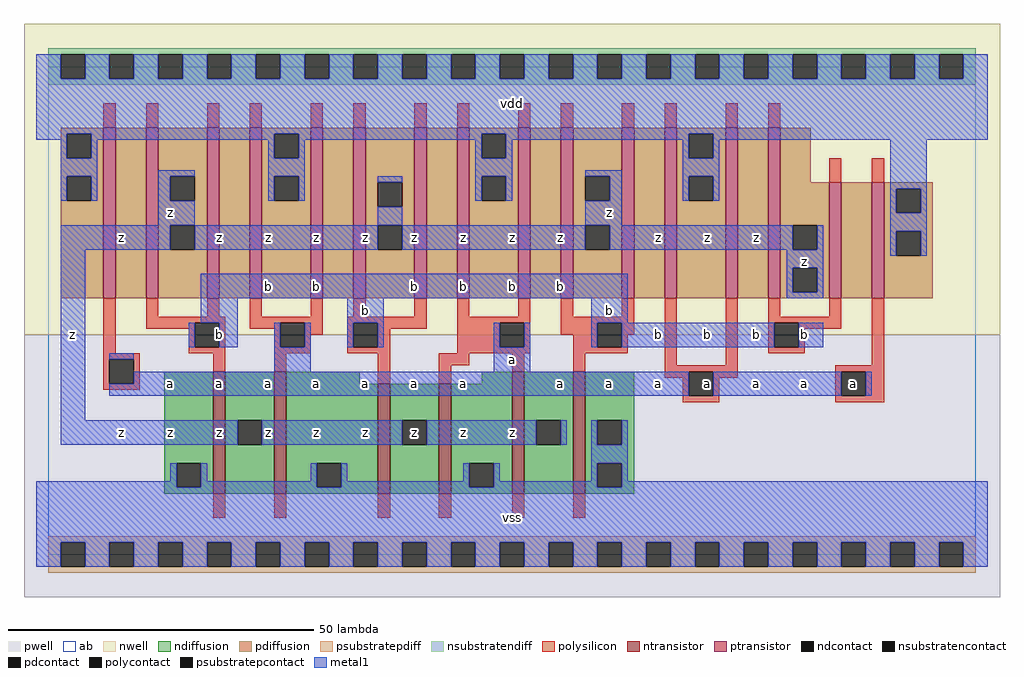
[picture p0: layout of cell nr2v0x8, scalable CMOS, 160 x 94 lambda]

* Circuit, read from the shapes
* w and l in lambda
.subckt nr2v0x8 a b vdd vss z
M1 z b vss vss nfet w=20 l=2 m=2
M2 vss a z vss nfet w=20 l=2 m=2
M3 z b vss vss nfet w=18 l=2
M4 vss a z vss nfet w=18 l=2
M5 n1 a vdd vdd pfet w=28 l=2
M6 z b n1 vdd pfet w=28 l=2
M7 n2 b z vdd pfet w=28 l=2
M8 vdd a n2 vdd pfet w=28 l=2
M9 n3 a vdd vdd pfet w=28 l=2
M10 z b n3 vdd pfet w=28 l=2
M11 n4 b z vdd pfet w=28 l=2
M12 vdd a n4 vdd pfet w=28 l=2
M13 n5 a vdd vdd pfet w=28 l=2
M14 z b n5 vdd pfet w=28 l=2
M15 n6 b z vdd pfet w=28 l=2
M16 vdd a n6 vdd pfet w=28 l=2
M17 n7 a vdd vdd pfet w=28 l=2
M18 z b n7 vdd pfet w=28 l=2
M19 n8 b z vdd pfet w=19 l=2
M20 vdd a n8 vdd pfet w=19 l=2
.ends

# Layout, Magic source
magic
tech scmos
<< ab >>
rect 0 0 152 80
<< pwell >>
rect -4 -7 156 36
<< nwell >>
rect -4 36 156 87
<< polysilicon >>
rect 9 70 11 74
rect 16 70 18 74
rect 26 70 28 74
rect 33 70 35 74
rect 43 70 45 74
rect 50 70 52 74
rect 60 70 62 74
rect 67 70 69 74
rect 77 70 79 74
rect 84 70 86 74
rect 94 70 96 74
rect 101 70 103 74
rect 111 70 113 74
rect 118 70 120 74
rect 128 61 130 65
rect 135 61 137 65
rect 9 33 11 42
rect 16 39 18 42
rect 26 39 28 42
rect 33 39 35 42
rect 43 39 45 42
rect 50 39 52 42
rect 60 39 62 42
rect 16 38 29 39
rect 16 37 24 38
rect 23 34 24 37
rect 28 34 29 38
rect 33 38 45 39
rect 33 37 38 38
rect 23 33 29 34
rect 9 32 15 33
rect 9 28 10 32
rect 14 28 15 32
rect 27 30 29 33
rect 37 34 38 37
rect 42 36 45 38
rect 49 38 62 39
rect 42 34 43 36
rect 37 33 43 34
rect 49 34 50 38
rect 54 37 62 38
rect 67 39 69 42
rect 77 39 79 42
rect 67 38 79 39
rect 54 34 56 37
rect 49 33 56 34
rect 67 34 74 38
rect 78 34 79 38
rect 84 39 86 42
rect 94 39 96 42
rect 84 38 96 39
rect 84 36 90 38
rect 67 33 79 34
rect 86 34 90 36
rect 94 36 96 38
rect 94 34 95 36
rect 86 33 95 34
rect 37 30 39 33
rect 9 27 15 28
rect 54 28 56 33
rect 64 31 69 33
rect 64 28 66 31
rect 76 30 78 33
rect 86 30 88 33
rect 101 31 103 42
rect 111 31 113 42
rect 118 39 120 42
rect 128 39 130 42
rect 118 38 130 39
rect 118 34 119 38
rect 123 37 130 38
rect 123 34 124 37
rect 118 33 124 34
rect 135 31 137 42
rect 101 30 113 31
rect 101 29 105 30
rect 104 26 105 29
rect 109 29 113 30
rect 129 30 137 31
rect 109 26 110 29
rect 104 25 110 26
rect 129 26 130 30
rect 134 26 137 30
rect 129 25 137 26
rect 27 6 29 10
rect 37 6 39 10
rect 54 6 56 10
rect 64 6 66 10
rect 76 6 78 10
rect 86 6 88 10
<< ndiffusion >>
rect 19 15 27 30
rect 19 11 21 15
rect 25 11 27 15
rect 19 10 27 11
rect 29 22 37 30
rect 29 18 31 22
rect 35 18 37 22
rect 29 10 37 18
rect 39 28 51 30
rect 71 28 76 30
rect 39 15 54 28
rect 39 11 44 15
rect 48 11 54 15
rect 39 10 54 11
rect 56 22 64 28
rect 56 18 58 22
rect 62 18 64 22
rect 56 10 64 18
rect 66 15 76 28
rect 66 11 69 15
rect 73 11 76 15
rect 66 10 76 11
rect 78 22 86 30
rect 78 18 80 22
rect 84 18 86 22
rect 78 10 86 18
rect 88 22 96 30
rect 88 18 90 22
rect 94 18 96 22
rect 88 15 96 18
rect 88 11 90 15
rect 94 11 96 15
rect 88 10 96 11
<< pdiffusion >>
rect 2 69 9 70
rect 2 65 3 69
rect 7 65 9 69
rect 2 62 9 65
rect 2 58 3 62
rect 7 58 9 62
rect 2 42 9 58
rect 11 42 16 70
rect 18 62 26 70
rect 18 58 20 62
rect 24 58 26 62
rect 18 54 26 58
rect 18 50 20 54
rect 24 50 26 54
rect 18 42 26 50
rect 28 42 33 70
rect 35 69 43 70
rect 35 65 37 69
rect 41 65 43 69
rect 35 62 43 65
rect 35 58 37 62
rect 41 58 43 62
rect 35 42 43 58
rect 45 42 50 70
rect 52 61 60 70
rect 52 57 54 61
rect 58 57 60 61
rect 52 54 60 57
rect 52 50 54 54
rect 58 50 60 54
rect 52 42 60 50
rect 62 42 67 70
rect 69 69 77 70
rect 69 65 71 69
rect 75 65 77 69
rect 69 62 77 65
rect 69 58 71 62
rect 75 58 77 62
rect 69 42 77 58
rect 79 42 84 70
rect 86 62 94 70
rect 86 58 88 62
rect 92 58 94 62
rect 86 54 94 58
rect 86 50 88 54
rect 92 50 94 54
rect 86 42 94 50
rect 96 42 101 70
rect 103 69 111 70
rect 103 65 105 69
rect 109 65 111 69
rect 103 62 111 65
rect 103 58 105 62
rect 109 58 111 62
rect 103 42 111 58
rect 113 42 118 70
rect 120 61 125 70
rect 120 54 128 61
rect 120 50 122 54
rect 126 50 128 54
rect 120 47 128 50
rect 120 43 122 47
rect 126 43 128 47
rect 120 42 128 43
rect 130 42 135 61
rect 137 60 145 61
rect 137 56 139 60
rect 143 56 145 60
rect 137 53 145 56
rect 137 49 139 53
rect 143 49 145 53
rect 137 42 145 49
<< metal1 >>
rect -2 78 2 82
rect 6 78 10 82
rect 14 78 18 82
rect 22 78 26 82
rect 30 78 34 82
rect 38 78 42 82
rect 46 78 50 82
rect 54 78 58 82
rect 62 78 66 82
rect 70 78 74 82
rect 78 78 82 82
rect 86 78 90 82
rect 94 78 98 82
rect 102 78 106 82
rect 110 78 114 82
rect 118 78 122 82
rect 126 78 130 82
rect 134 78 138 82
rect 142 78 146 82
rect 150 78 154 82
rect -2 69 154 78
rect -2 68 3 69
rect 2 65 3 68
rect 7 68 37 69
rect 7 65 8 68
rect 2 62 8 65
rect 36 65 37 68
rect 41 68 71 69
rect 41 65 42 68
rect 2 58 3 62
rect 7 58 8 62
rect 18 62 24 63
rect 18 58 20 62
rect 36 62 42 65
rect 70 65 71 68
rect 75 68 105 69
rect 75 65 76 68
rect 70 62 76 65
rect 104 65 105 68
rect 109 68 154 69
rect 109 65 110 68
rect 36 58 37 62
rect 41 58 42 62
rect 54 61 58 62
rect 18 54 24 58
rect 70 58 71 62
rect 75 58 76 62
rect 88 62 94 63
rect 92 58 94 62
rect 104 62 110 65
rect 104 58 105 62
rect 109 58 110 62
rect 138 60 144 68
rect 54 54 58 57
rect 88 54 94 58
rect 138 56 139 60
rect 143 56 144 60
rect 2 50 20 54
rect 24 50 54 54
rect 58 50 88 54
rect 92 50 122 54
rect 126 50 127 54
rect 2 22 6 50
rect 121 47 127 50
rect 138 53 144 56
rect 138 49 139 53
rect 143 49 144 53
rect 25 42 95 46
rect 121 43 122 47
rect 126 43 127 47
rect 121 42 127 43
rect 25 38 31 42
rect 49 38 55 42
rect 89 38 95 42
rect 23 34 24 38
rect 28 34 31 38
rect 37 34 38 38
rect 42 34 43 38
rect 49 34 50 38
rect 54 34 55 38
rect 73 34 74 38
rect 78 34 79 38
rect 89 34 90 38
rect 94 34 119 38
rect 123 34 127 38
rect 10 32 14 33
rect 37 30 43 34
rect 73 30 79 34
rect 14 28 105 30
rect 10 26 105 28
rect 109 26 130 30
rect 134 26 135 30
rect 2 18 31 22
rect 35 18 58 22
rect 62 18 80 22
rect 84 18 85 22
rect 89 18 90 22
rect 94 18 95 22
rect 89 15 95 18
rect 20 12 21 15
rect -2 11 21 12
rect 25 12 26 15
rect 43 12 44 15
rect 25 11 44 12
rect 48 12 49 15
rect 68 12 69 15
rect 48 11 69 12
rect 73 12 74 15
rect 89 12 90 15
rect 73 11 90 12
rect 94 12 95 15
rect 94 11 154 12
rect -2 2 154 11
rect -2 -2 2 2
rect 6 -2 10 2
rect 14 -2 18 2
rect 22 -2 26 2
rect 30 -2 34 2
rect 38 -2 42 2
rect 46 -2 50 2
rect 54 -2 58 2
rect 62 -2 66 2
rect 70 -2 74 2
rect 78 -2 82 2
rect 86 -2 90 2
rect 94 -2 98 2
rect 102 -2 106 2
rect 110 -2 114 2
rect 118 -2 122 2
rect 126 -2 130 2
rect 134 -2 138 2
rect 142 -2 146 2
rect 150 -2 154 2
<< ntransistor >>
rect 27 10 29 30
rect 37 10 39 30
rect 54 10 56 28
rect 64 10 66 28
rect 76 10 78 30
rect 86 10 88 30
<< ptransistor >>
rect 9 42 11 70
rect 16 42 18 70
rect 26 42 28 70
rect 33 42 35 70
rect 43 42 45 70
rect 50 42 52 70
rect 60 42 62 70
rect 67 42 69 70
rect 77 42 79 70
rect 84 42 86 70
rect 94 42 96 70
rect 101 42 103 70
rect 111 42 113 70
rect 118 42 120 70
rect 128 42 130 61
rect 135 42 137 61
<< polycontact >>
rect 24 34 28 38
rect 10 28 14 32
rect 38 34 42 38
rect 50 34 54 38
rect 74 34 78 38
rect 90 34 94 38
rect 119 34 123 38
rect 105 26 109 30
rect 130 26 134 30
<< ndcontact >>
rect 21 11 25 15
rect 31 18 35 22
rect 44 11 48 15
rect 58 18 62 22
rect 69 11 73 15
rect 80 18 84 22
rect 90 18 94 22
rect 90 11 94 15
<< pdcontact >>
rect 3 65 7 69
rect 3 58 7 62
rect 20 58 24 62
rect 20 50 24 54
rect 37 65 41 69
rect 37 58 41 62
rect 54 57 58 61
rect 54 50 58 54
rect 71 65 75 69
rect 71 58 75 62
rect 88 58 92 62
rect 88 50 92 54
rect 105 65 109 69
rect 105 58 109 62
rect 122 50 126 54
rect 122 43 126 47
rect 139 56 143 60
rect 139 49 143 53
<< psubstratepcontact >>
rect 2 -2 6 2
rect 10 -2 14 2
rect 18 -2 22 2
rect 26 -2 30 2
rect 34 -2 38 2
rect 42 -2 46 2
rect 50 -2 54 2
rect 58 -2 62 2
rect 66 -2 70 2
rect 74 -2 78 2
rect 82 -2 86 2
rect 90 -2 94 2
rect 98 -2 102 2
rect 106 -2 110 2
rect 114 -2 118 2
rect 122 -2 126 2
rect 130 -2 134 2
rect 138 -2 142 2
rect 146 -2 150 2
<< nsubstratencontact >>
rect 2 78 6 82
rect 10 78 14 82
rect 18 78 22 82
rect 26 78 30 82
rect 34 78 38 82
rect 42 78 46 82
rect 50 78 54 82
rect 58 78 62 82
rect 66 78 70 82
rect 74 78 78 82
rect 82 78 86 82
rect 90 78 94 82
rect 98 78 102 82
rect 106 78 110 82
rect 114 78 118 82
rect 122 78 126 82
rect 130 78 134 82
rect 138 78 142 82
rect 146 78 150 82
<< psubstratepdiff >>
rect 0 2 152 3
rect 0 -2 2 2
rect 6 -2 10 2
rect 14 -2 18 2
rect 22 -2 26 2
rect 30 -2 34 2
rect 38 -2 42 2
rect 46 -2 50 2
rect 54 -2 58 2
rect 62 -2 66 2
rect 70 -2 74 2
rect 78 -2 82 2
rect 86 -2 90 2
rect 94 -2 98 2
rect 102 -2 106 2
rect 110 -2 114 2
rect 118 -2 122 2
rect 126 -2 130 2
rect 134 -2 138 2
rect 142 -2 146 2
rect 150 -2 152 2
rect 0 -3 152 -2
<< nsubstratendiff >>
rect 0 82 152 83
rect 0 78 2 82
rect 6 78 10 82
rect 14 78 18 82
rect 22 78 26 82
rect 30 78 34 82
rect 38 78 42 82
rect 46 78 50 82
rect 54 78 58 82
rect 62 78 66 82
rect 70 78 74 82
rect 78 78 82 82
rect 86 78 90 82
rect 94 78 98 82
rect 102 78 106 82
rect 110 78 114 82
rect 118 78 122 82
rect 126 78 130 82
rect 134 78 138 82
rect 142 78 146 82
rect 150 78 152 82
rect 0 77 152 78
<< labels >>
rlabel metal1 20 20 20 20 6 z
rlabel metal1 12 20 12 20 6 z
rlabel metal1 20 28 20 28 6 a
rlabel metal1 4 36 4 36 6 z
rlabel metal1 12 52 12 52 6 z
rlabel metal1 20 56 20 56 6 z
rlabel metal1 44 20 44 20 6 z
rlabel metal1 36 20 36 20 6 z
rlabel metal1 28 20 28 20 6 z
rlabel metal1 28 28 28 28 6 a
rlabel metal1 36 28 36 28 6 a
rlabel metal1 44 28 44 28 6 a
rlabel metal1 28 36 28 36 6 b
rlabel metal1 36 44 36 44 6 b
rlabel metal1 44 44 44 44 6 b
rlabel metal1 28 52 28 52 6 z
rlabel metal1 36 52 36 52 6 z
rlabel metal1 44 52 44 52 6 z
rlabel metal1 52 20 52 20 6 z
rlabel metal1 68 20 68 20 6 z
rlabel ndcontact 60 20 60 20 6 z
rlabel metal1 60 28 60 28 6 a
rlabel metal1 68 28 68 28 6 a
rlabel metal1 52 28 52 28 6 a
rlabel metal1 60 44 60 44 6 b
rlabel metal1 68 44 68 44 6 b
rlabel metal1 52 40 52 40 6 b
rlabel metal1 52 52 52 52 6 z
rlabel metal1 60 52 60 52 6 z
rlabel metal1 68 52 68 52 6 z
rlabel metal1 76 6 76 6 6 vss
rlabel metal1 76 20 76 20 6 z
rlabel metal1 84 28 84 28 6 a
rlabel metal1 92 28 92 28 6 a
rlabel metal1 100 28 100 28 6 a
rlabel metal1 76 32 76 32 6 a
rlabel metal1 100 36 100 36 6 b
rlabel metal1 84 44 84 44 6 b
rlabel metal1 92 40 92 40 6 b
rlabel metal1 76 44 76 44 6 b
rlabel metal1 76 52 76 52 6 z
rlabel metal1 100 52 100 52 6 z
rlabel metal1 84 52 84 52 6 z
rlabel metal1 92 56 92 56 6 z
rlabel metal1 76 74 76 74 6 vdd
rlabel polycontact 108 28 108 28 6 a
rlabel metal1 116 28 116 28 6 a
rlabel metal1 124 28 124 28 6 a
rlabel metal1 124 36 124 36 6 b
rlabel metal1 116 36 116 36 6 b
rlabel metal1 108 36 108 36 6 b
rlabel metal1 124 48 124 48 6 z
rlabel metal1 108 52 108 52 6 z
rlabel metal1 116 52 116 52 6 z
rlabel polycontact 132 28 132 28 6 a
<< end >>
